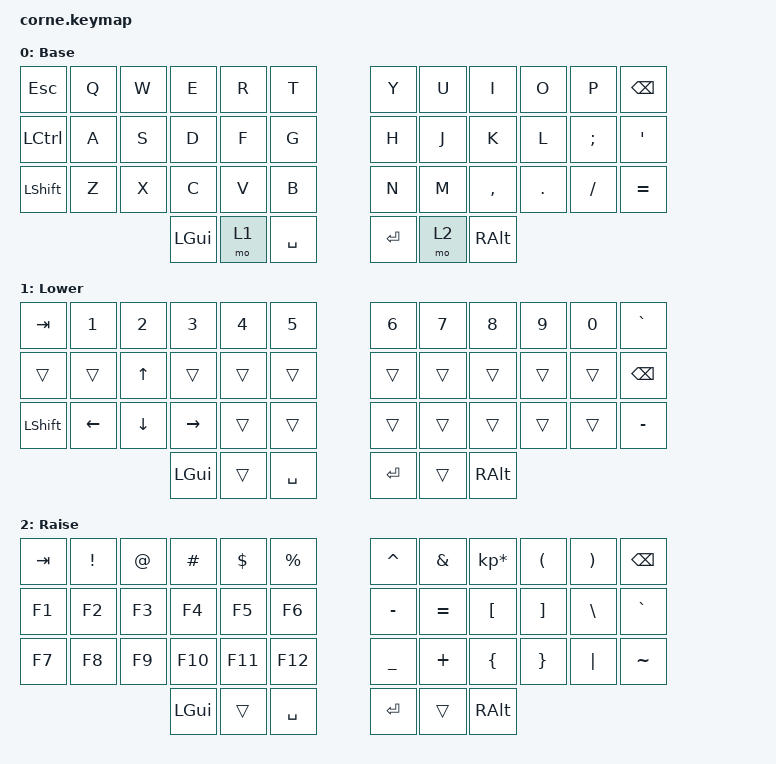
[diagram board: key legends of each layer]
/*
 * Copyright (c) 2020 The ZMK Contributors
 *
 * SPDX-License-Identifier: MIT
 */

#include <behaviors.dtsi>
#include <dt-bindings/zmk/keys.h>

/ {
    keymap {
        compatible = "zmk,keymap";

        default_layer {
            // -----------------------------------------------------------------------------------------
            // |  ESC |  Q  |  W  |  E  |  R  |  T  |   |  Y  |  U   |  I  |  O  |  P  | BKSP |
            // | CTRL |  A  |  S  |  D  |  F  |  G  |   |  H  |  J   |  K  |  L  |  ;  |  '   |
            // | SHFT |  Z  |  X  |  C  |  V  |  B  |   |  N  |  M   |  ,  |  .  |  /  | ESC  |
            //                    | GUI | LWR | SPC |   | ENT | RSE  | ALT |

            display-name = "Base";
            bindings = <
&kp ESCAPE  &kp Q  &kp W  &kp E     &kp R  &kp T        &kp Y    &kp U  &kp I      &kp O    &kp P     &kp BSPC
&kp LCTRL   &kp A  &kp S  &kp D     &kp F  &kp G        &kp H    &kp J  &kp K      &kp L    &kp SEMI  &kp SQT
&kp LSHFT   &kp Z  &kp X  &kp C     &kp V  &kp B        &kp N    &kp M  &kp COMMA  &kp DOT  &kp FSLH  &kp EQUAL
                          &kp LGUI  &mo 1  &kp SPACE    &kp RET  &mo 2  &kp RALT
            >;
        };

        lower_layer {
            // -----------------------------------------------------------------------------------------
            // |  TAB |  1  |  2  |  3  |  4  |  5  |   |  6  |  7  |  8  |  9  |  0  | BKSP |
            // | BTCLR| BT1 | BT2 | BT3 | BT4 | BT5 |   | LFT | DWN |  UP | RGT |     |      |
            // | SHFT |     |     |     |     |     |   |     |     |     |     |     |      |
            //                    | GUI |     | SPC |   | ENT |     | ALT |

            display-name = "Lower";
            bindings = <
&kp TAB    &kp N1          &kp N2          &kp N3           &kp N4  &kp N5       &kp N6   &kp N7  &kp N8    &kp N9  &kp N0  &kp GRAVE
&trans     &trans          &kp UP_ARROW    &trans           &trans  &trans       &trans   &trans  &trans    &trans  &trans  &kp BACKSPACE
&kp LSHFT  &kp LEFT_ARROW  &kp DOWN_ARROW  &kp RIGHT_ARROW  &trans  &trans       &trans   &trans  &trans    &trans  &trans  &kp MINUS
                                           &kp LGUI         &trans  &kp SPACE    &kp RET  &trans  &kp RALT
            >;
        };

        raise_layer {
            // -----------------------------------------------------------------------------------------
            // |  TAB |  !  |  @  |  #  |  $  |  %  |   |  ^  |  &  |  *  |  (  |  )  | BKSP |
            // | CTRL |     |     |     |     |     |   |  -  |  =  |  [  |  ]  |  \  |  `   |
            // | SHFT |     |     |     |     |     |   |  _  |  +  |  {  |  }  | "|" |  ~   |
            //                    | GUI |     | SPC |   | ENT |     | ALT |

            display-name = "Raise";
            bindings = <
&kp TAB  &kp EXCL  &kp AT  &kp HASH  &kp DLLR  &kp PRCNT    &kp CARET  &kp AMPS   &kp KP_MULTIPLY  &kp LPAR  &kp RPAR  &kp BSPC
&kp F1   &kp F2    &kp F3  &kp F4    &kp F5    &kp F6       &kp MINUS  &kp EQUAL  &kp LBKT         &kp RBKT  &kp BSLH  &kp GRAVE
&kp F7   &kp F8    &kp F9  &kp F10   &kp F11   &kp F12      &kp UNDER  &kp PLUS   &kp LBRC         &kp RBRC  &kp PIPE  &kp TILDE
                           &kp LGUI  &trans    &kp SPACE    &kp RET    &trans     &kp RALT
            >;
        };
    };
};
